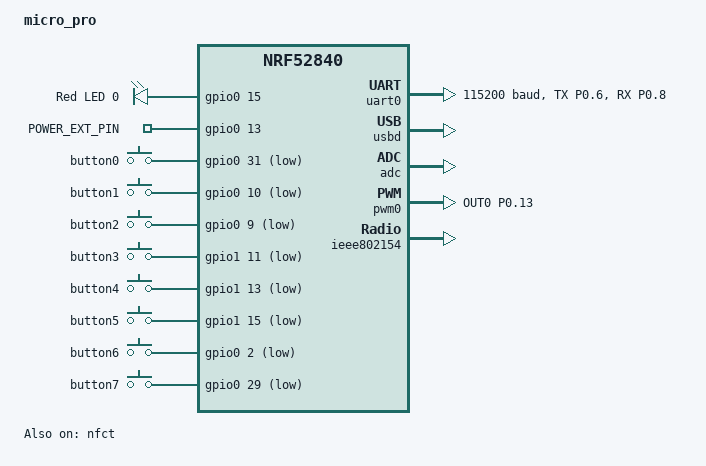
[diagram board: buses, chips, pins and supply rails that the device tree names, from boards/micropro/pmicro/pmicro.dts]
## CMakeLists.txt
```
cmake_minimum_required(VERSION 3.20.0)

set(CMAKE_EXPORT_COMPILE_COMMANDS ON)
cmake_language(DEFER CALL file CREATE_LINK
    ${CMAKE_CURRENT_BINARY_DIR}/compile_commands.json
    ${CMAKE_CURRENT_SOURCE_DIR}/build/compile_commands.json
    SYMBOLIC)

find_package(Zephyr REQUIRED HINTS $ENV{ZEPHYR_BASE})

project(test1)

target_sources(app PRIVATE src/main.c src/bt.c)
```

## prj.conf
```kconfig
CONFIG_NCS_SAMPLES_DEFAULTS=y

CONFIG_BT=y
CONFIG_BT_MAX_CONN=2
CONFIG_BT_MAX_PAIRED=2
CONFIG_BT_SMP=y
CONFIG_BT_ATT_TX_COUNT=5
CONFIG_BT_PERIPHERAL=y
CONFIG_BT_DEVICE_NAME="Nordic_HIDS_keyboard"
CONFIG_BT_DEVICE_APPEARANCE=961

# Disable automatic initiation of PHY updates and the SMP Security Requests.
# Workaround to prevent disconnection with the following disconnect reasons:
# - 0x08 (BT_HCI_ERR_CONN_TIMEOUT)
# - 0x13 (BT_HCI_ERR_REMOTE_USER_TERM_CONN)
# - 0x23 (BT_HCI_ERR_LL_PROC_COLLISION)
# - 0x2A (BT_HCI_ERR_DIFF_TRANS_COLLISION)
# Some laptop Bluetooth controllers may simultaneously trigger two Link Layer
# procedures which results in a procedure collision and disconnection.
CONFIG_BT_GATT_AUTO_SEC_REQ=n
CONFIG_BT_AUTO_PHY_UPDATE=n

CONFIG_BT_BAS=y
CONFIG_BT_HIDS=y
CONFIG_BT_HIDS_INPUT_REP_MAX=1
CONFIG_BT_HIDS_OUTPUT_REP_MAX=1
CONFIG_BT_HIDS_FEATURE_REP_MAX=0
CONFIG_BT_HIDS_ATTR_MAX=21
CONFIG_BT_HIDS_MAX_CLIENT_COUNT=2
CONFIG_BT_HIDS_DEFAULT_PERM_RW_ENCRYPT=y
CONFIG_BT_GATT_UUID16_POOL_SIZE=40
CONFIG_BT_GATT_CHRC_POOL_SIZE=20

CONFIG_BT_CONN_CTX=y

CONFIG_BT_DIS=y
CONFIG_BT_DIS_MANUF_NAME=y
CONFIG_BT_DIS_MANUF_NAME_STR="NordicSemiconductor"
CONFIG_BT_DIS_PNP=y
CONFIG_BT_DIS_PNP_VID_SRC=2
CONFIG_BT_DIS_PNP_VID=0x1915
CONFIG_BT_DIS_PNP_PID=0xEEEF
CONFIG_BT_DIS_PNP_VER=0x0100

CONFIG_MAIN_STACK_SIZE=2048
CONFIG_SYSTEM_WORKQUEUE_STACK_SIZE=2048

CONFIG_BT_SETTINGS=y
CONFIG_FLASH=y
CONFIG_FLASH_PAGE_LAYOUT=y
CONFIG_FLASH_MAP=y
CONFIG_NVS=y

CONFIG_DK_LIBRARY=y

CONFIG_POWEROFF=y
CONFIG_PM_DEVICE=y

# Interrupt is configured manualluy in the project
CONFIG_GPIO_NRFX_INTERRUPT=n
CONFIG_NRFX_GPIOTE=y


CONFIG_SETTINGS=y

#CONFIG_BT_PERIPHERAL_PREF_LATENCY=6
#CONFIG_BT_PERIPHERAL_PREF_TIMEOUT=100

CONFIG_NRFX_POWER=y

# Low power config options

CONFIG_SERIAL=n
CONFIG_UART_CONSOLE=n
CONFIG_CONSOLE=n
CONFIG_LOG=n
CONFIG_STDOUT_CONSOLE=n
CONFIG_PRINTK=n

# Debug config options

#CONFIG_SERIAL=y
#CONFIG_UART_CONSOLE=n
#CONFIG_RTT_CONSOLE=y
#CONFIG_USE_SEGGER_RTT=y
#CONFIG_DEBUG=y
#CONFIG_LOG=y
```

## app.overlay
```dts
// / {
//     chosen {
//         /delete-property/ zephyr,console;
//     };
// };

/* Disable all unneeded peripherals to reduce power consumption */
&uart0 { status = "disabled"; };
// &uart0 { status = "okay"; };
&usbd { status = "disabled"; };
&adc { status = "disabled"; };
&nfct { status = "disabled"; };
&pwm0 { status = "okay"; };
&ieee802154 { status = "disabled"; };

/ {
    pwmleds {
        compatible = "pwm-leds";
        pwm_led0: pwm_led_0 {
            pwms = <&pwm0 0 PWM_MSEC(20) PWM_POLARITY_NORMAL>;
        };
        pwm_led1: pwm_led_1 {
            pwms = <&pwm0 1 PWM_MSEC(20) PWM_POLARITY_NORMAL>;
        };
    };
};

&pwm0 {
    status = "okay";
    pinctrl-0 = <&pwm0_default>;
    pinctrl-1 = <&pwm0_sleep>;
    pinctrl-names = "default", "sleep";
};

&pinctrl {
    pwm0_default: pwm0_default {
        group1 {
            psels = <NRF_PSEL(PWM_OUT0, 0, 6)>,
                    <NRF_PSEL(PWM_OUT1, 0, 8)>;
            nordic,drive-mode = <NRF_DRIVE_S0S1>;
        };
    };
    pwm0_sleep: pwm0_sleep {
        group1 {
            psels = <NRF_PSEL(PWM_OUT0, 0, 6)>,
                    <NRF_PSEL(PWM_OUT1, 0, 8)>;
            nordic,drive-mode = <NRF_DRIVE_S0S1>;
        };
    };
};
```

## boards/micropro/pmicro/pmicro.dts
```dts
/dts-v1/;

#include <nordic/nrf52840_qiaa.dtsi>
#include "pmicro-pinctrl.dtsi"

/ {
	model = "micro_pro";
	compatible = "micropro,pmicro";

	chosen {
		zephyr,sram = &sram0;
		zephyr,flash = &flash0;
		zephyr,code-partition = &slot0_partition;
		zephyr,console = &uart0;
	};
	leds {
		compatible = "gpio-leds";

		led0: led_0 {
			gpios = <&gpio0 15 GPIO_ACTIVE_HIGH>;
			label = "Red LED 0";
		};
		led1: led_1 {
			gpios = <&gpio0 13 GPIO_ACTIVE_HIGH>;
			label = "POWER_EXT_PIN";
		};
	};
	buttons {
		compatible = "gpio-keys";

        button0: button_0 {
            gpios = <&gpio0 31 (GPIO_PULL_UP | GPIO_ACTIVE_LOW)>;
        };
		 button1: button_1 {
		 	gpios = <&gpio0 10 (GPIO_PULL_UP | GPIO_ACTIVE_LOW)>;
		 };
		 button2: button_2 {
		 	gpios = <&gpio0 9 (GPIO_PULL_UP | GPIO_ACTIVE_LOW)>;
		 };
		 button3: button_3 {
		 	gpios = <&gpio1 11 (GPIO_PULL_UP | GPIO_ACTIVE_LOW)>;
		 };
		 button4: button_4 {
		 	gpios = <&gpio1 13 (GPIO_PULL_UP | GPIO_ACTIVE_LOW)>;
		 };
		 button5: button_5 {
		 	gpios = <&gpio1 15 (GPIO_PULL_UP | GPIO_ACTIVE_LOW)>;
		 };
		 button6: button_6 {
		 	gpios = <&gpio0 2 (GPIO_PULL_UP | GPIO_ACTIVE_LOW)>;
		 };
		 button7: button_7 {
		 	gpios = <&gpio0 29 (GPIO_PULL_UP | GPIO_ACTIVE_LOW)>;
		 };
	};
};

&uicr {
    nfct-pins-as-gpios;
};

&flash0 {
	partitions {
		compatible = "fixed-partitions";
		#address-cells = <1>;
		#size-cells = <1>;

		boot_partition: partition@0 {
			label = "mcuboot";
			reg = <0x0 DT_SIZE_K(64)>;
		};

		slot0_partition: partition@10000 {
			label = "image-0";
			reg = <0x10000 DT_SIZE_K(464)>;
		};

		slot1_partition: partition@84000 {
			label = "image-1";
			reg = <0x84000 DT_SIZE_K(464)>;
		};

		storage_partition: partition@f8000 {
			label = "storage";
			reg = <0xf8000 DT_SIZE_K(32)>;
		};
	};
};
&uart0 {
	compatible = "nordic,nrf-uarte";
	status = "okay";
	current-speed = <115200>;
	pinctrl-0 = <&uart0_default>;
	pinctrl-1 = <&uart0_sleep>;
	pinctrl-names = "default", "sleep";
};

&gpio0 {
	status = "okay";
};

&gpio1 {
	status = "okay";
};

&usbd {
	status = "okay";
};

&spi1 {
	status = "disabled";
};

&spi3 {
	status = "disabled";
};

&pinctrl {
	uart0_default: uart0_default {
		group1 {
			psels = <NRF_PSEL(UART_TX, 0, 6)>, <NRF_PSEL(UART_RX, 0, 8)>;
		};
	};

	uart0_sleep: uart0_sleep {
		group1 {
			psels = <NRF_PSEL(UART_TX, 0, 6)>;
		};
	};

	i2c0_default: i2c0_default {
		group1 {
			psels = <NRF_PSEL(TWIM_SCL, 0, 26)>, <NRF_PSEL(TWIM_SDA, 0, 27)>;
		};
	};

	i2c0_sleep: i2c0_sleep {
		group1 {
			psels = <NRF_PSEL(TWIM_SCL, 0, 26)>;
		};
	};

	pwm0_default: pwm0_default {
		group1 {
			psels = <NRF_PSEL(PWM_OUT0, 0, 13)>;
		};
	};

	pwm0_sleep: pwm0_sleep {
		group1 {
			psels = <NRF_PSEL(PWM_OUT0, 0, 13)>;
		};
	};
};

&gpiote {
	status = "okay";
};

&adc {
	status = "okay";
};

&i2c0 {
	status = "disabled";
	pinctrl-0 = <&i2c0_default>;
	pinctrl-1 = <&i2c0_sleep>;
	pinctrl-names = "default", "sleep";
};

&nfct {
	status = "okay";
};

&pwm0 {
	status = "okay";
	pinctrl-0 = <&pwm0_default>;
	pinctrl-1 = <&pwm0_sleep>;
	pinctrl-names = "default", "sleep";
};

&ieee802154 {
	status = "okay";
};
```

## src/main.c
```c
/**
 * @file main.c
 * @author Dmitry Vdovenko
 * @brief BLE hid kbd
 * @date 2026-05-22
 *
 * @copyright Copyright (c) 2026
 *
 */

#include "hal/nrf_gpiote.h"
#include "zephyr/drivers/gpio.h"
#include "zephyr/drivers/timer/system_timer.h"
#include "zephyr/irq.h"

#include <assert.h>
#include <bluetooth/services/hids.h>
#include <dk_buttons_and_leds.h>
#include <hal/nrf_gpio.h>
#include <soc.h>
#include <stddef.h>
#include <string.h>
#include <zephyr/bluetooth/bluetooth.h>
#include <zephyr/bluetooth/conn.h>
#include <zephyr/bluetooth/gatt.h>
#include <zephyr/bluetooth/hci.h>
#include <zephyr/bluetooth/services/bas.h>
#include <zephyr/bluetooth/services/dis.h>
#include <zephyr/bluetooth/uuid.h>
#include <zephyr/drivers/gpio.h>
#include <zephyr/kernel.h>
#include <zephyr/settings/settings.h>
#include <zephyr/spinlock.h>
#include <zephyr/sys/byteorder.h>
#include <zephyr/sys/poweroff.h>
#include <zephyr/sys/printk.h>
#include <zephyr/types.h>
// #include "app_nfc.h"


#include "hal/nrf_gpiote.h"
#include <hal/nrf_gpio.h>
#include <hal/nrf_power.h>
#include <nrfx_power.h>
#include <nrfx.h>


#include "bt.h"

#include <zephyr/drivers/pwm.h>

#define ADV_STATUS_LED DK_LED1
#define CON_STATUS_LED DK_LED2
#define ADV_LED_BLINK_INTERVAL 2000
#define UPTIME_BEFORE_SLEEP_MS 30000

static int configure_leds(void)
{
    int err;

    err = dk_leds_init();
    if (err)
    {
        printk("Cannot init LEDs (err: %d)\n", err);
        return err;
    }
    return 0;
}

static void bas_notify(void)
{
    uint8_t battery_level = bt_bas_get_battery_level();

    battery_level--;

    if (!battery_level)
    {
        battery_level = 100U;
    }
    printk("battery_level %d\n", battery_level);
    bt_bas_set_battery_level(battery_level);
}

static const struct gpio_dt_spec gpio_buttons[] = {
    GPIO_DT_SPEC_GET(DT_NODELABEL(button0), gpios),
    GPIO_DT_SPEC_GET(DT_NODELABEL(button1), gpios),
    GPIO_DT_SPEC_GET(DT_NODELABEL(button2), gpios),
    GPIO_DT_SPEC_GET(DT_NODELABEL(button3), gpios),
    GPIO_DT_SPEC_GET(DT_NODELABEL(button4), gpios),
    GPIO_DT_SPEC_GET(DT_NODELABEL(button5), gpios),
    GPIO_DT_SPEC_GET(DT_NODELABEL(button6), gpios),
    GPIO_DT_SPEC_GET(DT_NODELABEL(button7), gpios),
};
#define GPIO_BUTTONS_NUM (sizeof(gpio_buttons) / sizeof(struct gpio_dt_spec))
BUILD_ASSERT(GPIO_BUTTONS_NUM <= 8, "There are only 8 event lines in GPIOTE on NRF52840");
BUILD_ASSERT(GPIO_BUTTONS_NUM <= KEY_PRESS_MAX, "Function `button_submit_handler` requires that GPIO_BUTTONS_NUM <= KEYS_PRESS_MAX");

static const struct device * gpio0 =  DEVICE_DT_GET(DT_NODELABEL(gpio0));
static const struct device * gpio1 =  DEVICE_DT_GET(DT_NODELABEL(gpio1));

struct  button_submit_work_t {
    struct k_work_delayable work;
    uint32_t codes;
} button_submit_work;

static volatile int64_t last_time_button_pressed = 0;

//  Mask of button states, used to fast check that all are released
static uint8_t btn_states_mask = 0;

/* GPIO buttons handler, invoked by kernel shortly after ISR*/
static void buttons_submit_handler(struct k_work * work)
{
    // mask of pressed codes
    // key with code i is pressed only if bit i is set in mask
    uint32_t codes_mask = button_submit_work.codes;
    uint8_t pressed_codes[KEY_PRESS_MAX];
    uint8_t released_codes[KEY_PRESS_MAX];
    size_t pressed_keys_num = 0;
    size_t released_keys_num = 0;

    printk("mask %d\n", codes_mask);

    for(uint8_t i = 0; i < GPIO_BUTTONS_NUM; ++i){
        if(codes_mask & (1UL << i)){
            if(gpio_pin_get_dt(&gpio_buttons[i]) > 0){
                printk("btn %d pressed\n", i);
                // safe: pressd_keys_num++ < GPIO_BUTTONS_NUM <= KEYS_PRESS_MAX
                pressed_codes[pressed_keys_num++] = i + 0x1E;
                btn_states_mask |= (1U << i);
            } else {
                printk("btn %d released\n", i);
                // safe: released_keys_num++ < GPIO_BUTTONS_NUM <= KEYS_PRESS_MAX
                released_codes[released_keys_num++] = i + 0x1E;
                btn_states_mask &= ~(1U << i);
            }
        }
    }

    hid_buttons_press(pressed_codes, pressed_keys_num);
    hid_buttons_release(released_codes, released_keys_num);

    last_time_button_pressed = k_uptime_get();

    button_submit_work.codes = 0x0;
}



#define GPIOTE DT_NODELABEL(gpiote)

static void gpiote_isr(void * arg){
    ARG_UNUSED(arg);
    uint32_t codes_mask = 0;
    for (int i = 0; i < GPIO_BUTTONS_NUM; ++i)
    {
        if(NRF_GPIOTE0->EVENTS_IN[i]){
            codes_mask |= (1U << i);
            NRF_GPIOTE0->EVENTS_IN[i] = 0x0;
        }
    }
    button_submit_work.codes |= codes_mask;
    // If multiple interrupts occur in short time because of bouncing,
    // `button_submit_work` is invoked only once.
    k_work_reschedule(&button_submit_work.work, K_MSEC(10));
}


static volatile bool low_power_warning_received = false;

static void powwarn_handler(){
    low_power_warning_received = true;
}

static int configure_buttons(void)
{

    // Default IRQ handler from GPIOTE driver seems to always handle PORT event.
    // According to NRF52840 datasheed, PORT event is *ALWAYS* enabled.
    // Even if the cause of interrupt is not port event, but PORT event condition occurs,
    // it is nevertheless handled, so we get 2 interrupts instead of 1.
    // Hence, we set up our custom interrupt handler that does not have this flaw.
    IRQ_CONNECT(DT_IRQN(GPIOTE), DT_IRQ(GPIOTE, priority), gpiote_isr, NULL, 0);

    uint32_t gpio_int_mask = 0;

    // Each button corresponds to a GPIOTE event channel (maximum 8).
    for(int i = 0; i < GPIO_BUTTONS_NUM; ++i){
        int err;

        err = gpio_pin_configure_dt(&gpio_buttons[i], GPIO_INPUT);
        if(err){
            printk("Failed to configure GPIO pin %d, error code : %d", i, err);
            return err;
        }

        // check if pin is on either of 2 ports : gpio 0 or gpio1
        __ASSERT(gpio_buttons[i].port == gpio0 || gpio_buttons[i].port == gpio1, "Button is not on gpio0 or gpio1");

        uint32_t port_number = (gpio_buttons[i].port == gpio0 ? (0U) : (1U));
        uint32_t absolute_pin_number  = NRF_PIN_PORT_TO_PIN_NUMBER(gpio_buttons[i].pin, port_number);

        nrf_gpiote_event_configure(NRF_GPIOTE0, i, absolute_pin_number, NRF_GPIOTE_POLARITY_TOGGLE);
        nrf_gpiote_event_enable(NRF_GPIOTE, i);

        // Generate DETECT signal on low GPIO level (that is, button press)
        // Thus, wake up from System OFF.
        nrf_gpio_cfg_sense_set(absolute_pin_number, NRF_GPIO_PIN_SENSE_LOW);
        gpio_int_mask |= (1U << i);
    }

    nrf_gpiote_int_enable(NRF_GPIOTE0, gpio_int_mask);

    irq_enable(DT_IRQN(GPIOTE));

    return 0;
}


#define POWER DT_NODELABEL(power)
static void configure_pofcon(){

    nrfx_power_config_t power_config  = {
        .dcdcen = 0,
        .dcdcenhv = 0
    };
    int err = nrfx_power_init(&power_config);
    if (err) {
        printk("Power init failed: %d\n", err);
    }

    // 2. Configure Power Failure Warning (POFWARN)
    // Example: Trigger warning if VDD drops below 2.8V
    nrfx_power_pofwarn_config_t pof_config = {
        .handler = powwarn_handler,
        .thrvddh  = NRF_POWER_POFTHRVDDH_V28,
    };

    nrfx_power_pof_init(&pof_config);
    nrfx_power_pof_enable(&pof_config);
    printk("POFWARN Event Handler Enabled\n");

}

static const struct pwm_dt_spec pwm_led0 = PWM_DT_SPEC_GET(DT_NODELABEL(pwm_led0));
static const struct pwm_dt_spec pwm_led1 = PWM_DT_SPEC_GET(DT_NODELABEL(pwm_led1));

static void configure_pwm(){
    if (!device_is_ready(pwm_led0.dev) || !device_is_ready(pwm_led1.dev)){
            printk("Error: One or more PWM devices are not ready.\n");
            return;
    }

    if(pwm_set_dt(&pwm_led0, pwm_led0.period, pwm_led0.period  * 0.5)){
        printk("Error set PWM led 0\n");
    }
    if(pwm_set_dt(&pwm_led1, pwm_led1.period, pwm_led1.period  * 0.5)){
        printk("Error set PWM led 0\n");
    }
}

int main(void)
{
    printk("resetreas : %x\n", NRF_POWER->RESETREAS);
    printk("mainregstatus : %x\n", NRF_POWER->MAINREGSTATUS);
    int err;
    int blink_status = 0;

    configure_pwm();

    // Buttons (i.e wake up sources) must be configured before POFCON
    err = configure_buttons();
    if(err){
        printk("Failed to configure buttons\n");
        return 0;
    }

    configure_pofcon();
    __DSB();
    if(low_power_warning_received){
        printk("Early power warning received, entering System OFF\n");
        sys_clock_disable();
        sys_poweroff();
    }

    err = configure_leds();
    if(err){
        printk("Failed to configure LEDs\n");
        return 0;
    }

    button_submit_work.codes = 0;
    k_work_init_delayable(&button_submit_work.work, buttons_submit_handler);


    err = configure_bt();
    if (err)
    {
        printk("Failed to configure Bluetooth\n");
        return 0;
    }

#if CONFIG_SAMPLE_NFC_OOB_PAIRING
    k_work_init(&adv_work, delayed_advertising_start);
    app_nfc_init();
#else
    advertising_start();
#endif /* CONFIG_SAMPLE_NFC_OOB_PAIRING */

    for (;;)
    {
        if (is_adv)
        {
            dk_set_led(ADV_STATUS_LED, (++blink_status) % 2);
        }
        else
        {
            dk_set_led(ADV_STATUS_LED, 0);
        }
        k_sleep(K_MSEC(ADV_LED_BLINK_INTERVAL));

        /* Battery level simulation */
        bas_notify();

        // Check if no button is held constantly and no action was performed in last UPTIME_BEFORE_SLEEP_MS
        if((k_uptime_get() - last_time_button_pressed >= UPTIME_BEFORE_SLEEP_MS && btn_states_mask == 0x0) || low_power_warning_received){
            if(low_power_warning_received){
                printk("Low power!\n");
            }
            dk_set_led(0, 0);
            NRF_POWER->RESETREAS=0x0;
            sys_clock_disable() ;
            sys_poweroff();
        }

    }
}
```

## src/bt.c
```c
#include <bluetooth/services/hids.h>
#include <dk_buttons_and_leds.h>
#include <hal/nrf_gpio.h>
#include <soc.h>
#include <stddef.h>
#include <string.h>
#include <zephyr/bluetooth/bluetooth.h>
#include <zephyr/bluetooth/conn.h>
#include <zephyr/bluetooth/gatt.h>
#include <zephyr/bluetooth/hci.h>
#include <zephyr/bluetooth/services/bas.h>
#include <zephyr/bluetooth/services/dis.h>
#include <zephyr/bluetooth/uuid.h>
#include <zephyr/drivers/gpio.h>
#include <zephyr/kernel.h>
#include <zephyr/settings/settings.h>
#include <zephyr/spinlock.h>
#include <zephyr/sys/byteorder.h>
#include <zephyr/sys/poweroff.h>
#include <zephyr/sys/printk.h>
#include <zephyr/types.h>
#include "bt.h"

#define DEVICE_NAME     CONFIG_BT_DEVICE_NAME
#define DEVICE_NAME_LEN (sizeof(DEVICE_NAME) - 1)

#define BASE_USB_HID_SPEC_VERSION 0x0101

#define OUTPUT_REPORT_MAX_LEN            1
#define OUTPUT_REPORT_BIT_MASK_CAPS_LOCK 0x02
#define INPUT_REP_KEYS_REF_ID            0
#define OUTPUT_REP_KEYS_REF_ID           0
#define MODIFIER_KEY_POS                 0
#define SHIFT_KEY_CODE                   0x02
#define SCAN_CODE_POS                    2
#define KEYS_MAX_LEN                     (INPUT_REPORT_KEYS_MAX_LEN - SCAN_CODE_POS)


#define LED_CAPS_LOCK  DK_LED3
#define NFC_LED        DK_LED4
#define KEY_TEXT_MASK  DK_BTN1_MSK
#define KEY_SHIFT_MASK DK_BTN2_MSK
#define KEY_ADV_MASK   DK_BTN4_MSK

/* Key used to accept or reject passkey value */
#define KEY_PAIRING_ACCEPT DK_BTN1_MSK
#define KEY_PAIRING_REJECT DK_BTN2_MSK

/* HIDs queue elements. */
#define HIDS_QUEUE_SIZE 10


/* OUT report internal indexes.
 *
 * This is a position in internal report table and is not related to
 * report ID.
 */
enum
{
    OUTPUT_REP_KEYS_IDX = 0
};

/* INPUT report internal indexes.
 *
 * This is a position in internal report table and is not related to
 * report ID.
 */
enum
{
    INPUT_REP_KEYS_IDX = 0
};

/* HIDS instance. */
BT_HIDS_DEF(hids_obj, OUTPUT_REPORT_MAX_LEN, INPUT_REPORT_KEYS_MAX_LEN);


static const struct bt_data ad[] = {
    BT_DATA_BYTES(
        BT_DATA_GAP_APPEARANCE, (CONFIG_BT_DEVICE_APPEARANCE >> 0) & 0xff, (CONFIG_BT_DEVICE_APPEARANCE >> 8) & 0xff),
    BT_DATA_BYTES(BT_DATA_FLAGS, (BT_LE_AD_GENERAL | BT_LE_AD_NO_BREDR)),
    BT_DATA_BYTES(BT_DATA_UUID16_ALL, BT_UUID_16_ENCODE(BT_UUID_HIDS_VAL), BT_UUID_16_ENCODE(BT_UUID_BAS_VAL)),
};

static const struct bt_data sd[] = {
    BT_DATA(BT_DATA_NAME_COMPLETE, DEVICE_NAME, DEVICE_NAME_LEN),
};

static struct conn_mode
{
    struct bt_conn* conn;
    bool in_boot_mode;
} conn_mode[CONFIG_BT_HIDS_MAX_CLIENT_COUNT];

volatile bool is_adv;

/* Current report status
 */
static struct keyboard_state
{
    uint8_t ctrl_keys_state; /* Current keys state */
    uint8_t keys_state[KEY_PRESS_MAX];
} hid_keyboard_state;

#if CONFIG_SAMPLE_NFC_OOB_PAIRING
static struct k_work adv_work;
#endif /* CONFIG_SAMPLE_NFC_OOB_PAIRING */

static struct k_work pairing_work;
struct pairing_data_mitm
{
    struct bt_conn* conn;
    unsigned int passkey;
};

K_MSGQ_DEFINE(mitm_queue, sizeof(struct pairing_data_mitm), CONFIG_BT_HIDS_MAX_CLIENT_COUNT, 4);

void advertising_start(void)
{
    int err;
    const struct bt_le_adv_param* adv_param =
        BT_LE_ADV_PARAM(BT_LE_ADV_OPT_CONN, BT_GAP_ADV_SLOW_INT_MIN, BT_GAP_ADV_SLOW_INT_MAX, NULL);

    err = bt_le_adv_start(adv_param, ad, ARRAY_SIZE(ad), sd, ARRAY_SIZE(sd));
    if (err)
    {
        if (err == -EALREADY)
        {
            printk("Advertising continued\n");
        }
        else
        {
            printk("Advertising failed to start (err %d)\n", err);
        }

        return;
    }

    is_adv = true;
    printk("Advertising successfully started\n");
}


static void pairing_process(struct k_work* work)
{
    int err;
    struct pairing_data_mitm pairing_data;

    char addr[BT_ADDR_LE_STR_LEN];

    err = k_msgq_peek(&mitm_queue, &pairing_data);
    if (err)
    {
        return;
    }

    bt_addr_le_to_str(bt_conn_get_dst(pairing_data.conn), addr, sizeof(addr));

    printk("Passkey for %s: %06u\n", addr, pairing_data.passkey);

    // Temporarily always reply positively on number comparison
    num_comp_reply(true);
}

static void connected(struct bt_conn* conn, uint8_t err)
{
    char addr[BT_ADDR_LE_STR_LEN];

    bt_addr_le_to_str(bt_conn_get_dst(conn), addr, sizeof(addr));

    if (err)
    {
        printk("Failed to connect to %s 0x%02x %s\n", addr, err, bt_hci_err_to_str(err));
        return;
    }

    printk("Connected %s on_CON_STATUS_LED\n", addr);

    err = bt_hids_connected(&hids_obj, conn);

    if (err)
    {
        printk("Failed to notify HID service about connection\n");
        return;
    }

    for (size_t i = 0; i < CONFIG_BT_HIDS_MAX_CLIENT_COUNT; i++)
    {
        if (!conn_mode[i].conn)
        {
            conn_mode[i].conn = conn;
            conn_mode[i].in_boot_mode = false;
            break;
        }
    }

    // #ifndef CONFIG_SAMPLE_NFC_OOB_PAIRING
    //     for (size_t i = 0; i < CONFIG_BT_HIDS_MAX_CLIENT_COUNT; i++)
    //     {
    //         if (!conn_mode[i].conn)
    //         {
    //             advertising_start();
    //             return;
    //         }
    //     }
    // #endif /* !CONFIG_SAMPLE_NFC_OOB_PAIRING */
    is_adv = false;
}

static void disconnected(struct bt_conn* conn, uint8_t reason)
{
    int err;
    bool is_any_dev_connected = false;
    char addr[BT_ADDR_LE_STR_LEN];

    bt_addr_le_to_str(bt_conn_get_dst(conn), addr, sizeof(addr));

    printk("Disconnected from %s, reason 0x%02x %s\n", addr, reason, bt_hci_err_to_str(reason));

    err = bt_hids_disconnected(&hids_obj, conn);

    if (err)
    {
        printk("Failed to notify HID service about disconnection\n");
    }

    for (size_t i = 0; i < CONFIG_BT_HIDS_MAX_CLIENT_COUNT; i++)
    {
        if (conn_mode[i].conn == conn)
        {
            conn_mode[i].conn = NULL;
        }
        else
        {
            if (conn_mode[i].conn)
            {
                is_any_dev_connected = true;
            }
        }
    }

    if (!is_any_dev_connected)
    {
        // dk_set_led_off(CON_STATUS_LED);
        printk("off_CON_STATUS_LE\n");
    }

#if CONFIG_SAMPLE_NFC_OOB_PAIRING
    if (is_adv)
    {
        printk("Advertising stopped after disconnect\n");
        bt_le_adv_stop();
        is_adv = false;
    }
#else
    advertising_start();
#endif /* CONFIG_SAMPLE_NFC_OOB_PAIRING */
}

static void security_changed(struct bt_conn* conn, bt_security_t level, enum bt_security_err err)
{
    char addr[BT_ADDR_LE_STR_LEN];

    bt_addr_le_to_str(bt_conn_get_dst(conn), addr, sizeof(addr));

    if (!err)
    {
        printk("Security changed: %s level %u\n", addr, level);
    }
    else
    {
        printk("Security failed: %s level %u err %d %s\n", addr, level, err, bt_security_err_to_str(err));
    }
}

BT_CONN_CB_DEFINE(conn_callbacks) = {
    .connected = connected,
    .disconnected = disconnected,
    .security_changed = security_changed,
};

static void caps_lock_handler(const struct bt_hids_rep* rep)
{
    uint8_t report_val = ((*rep->data) & OUTPUT_REPORT_BIT_MASK_CAPS_LOCK) ? 1 : 0;
    // dk_set_led(LED_CAPS_LOCK, report_val);
    printk("LED_CAPS_LOCK%d\n", report_val);
}

static void hids_outp_rep_handler(struct bt_hids_rep* rep, struct bt_conn* conn, bool write)
{
    char addr[BT_ADDR_LE_STR_LEN];

    if (!write)
    {
        printk("Output report read\n");
        return;
    };

    bt_addr_le_to_str(bt_conn_get_dst(conn), addr, sizeof(addr));
    printk("Output report has been received %s\n", addr);
    caps_lock_handler(rep);
}

static void hids_boot_kb_outp_rep_handler(struct bt_hids_rep* rep, struct bt_conn* conn, bool write)
{
    char addr[BT_ADDR_LE_STR_LEN];

    if (!write)
    {
        printk("Output report read\n");
        return;
    };

    bt_addr_le_to_str(bt_conn_get_dst(conn), addr, sizeof(addr));
    printk("Boot Keyboard Output report has been received %s\n", addr);
    caps_lock_handler(rep);
}

static void hids_pm_evt_handler(enum bt_hids_pm_evt evt, struct bt_conn* conn)
{
    char addr[BT_ADDR_LE_STR_LEN];
    size_t i;

    for (i = 0; i < CONFIG_BT_HIDS_MAX_CLIENT_COUNT; i++)
    {
        if (conn_mode[i].conn == conn)
        {
            break;
        }
    }

    if (i >= CONFIG_BT_HIDS_MAX_CLIENT_COUNT)
    {
        printk("Cannot find connection handle when processing PM");
        return;
    }

    bt_addr_le_to_str(bt_conn_get_dst(conn), addr, sizeof(addr));

    switch (evt)
    {
        case BT_HIDS_PM_EVT_BOOT_MODE_ENTERED:
            printk("Boot mode entered %s\n", addr);
            conn_mode[i].in_boot_mode = true;
            break;

        case BT_HIDS_PM_EVT_REPORT_MODE_ENTERED:
            printk("Report mode entered %s\n", addr);
            conn_mode[i].in_boot_mode = false;
            break;

        default:
            break;
    }
}

static void hid_init(void)
{
    int err;
    struct bt_hids_init_param hids_init_obj = {0};
    struct bt_hids_inp_rep* hids_inp_rep;
    struct bt_hids_outp_feat_rep* hids_outp_rep;

    static const uint8_t report_map[] = {
        0x05, 0x01, /* Usage Page (Generic Desktop) */
        0x09, 0x06, /* Usage (Keyboard) */
        0xA1, 0x01, /* Collection (Application) */

    /* Keys */
#if INPUT_REP_KEYS_REF_ID
        0x85, INPUT_REP_KEYS_REF_ID,
#endif
        0x05, 0x07, /* Usage Page (Key Codes) */
        0x19, 0xe0, /* Usage Minimum (224) */
        0x29, 0xe7, /* Usage Maximum (231) */
        0x15, 0x00, /* Logical Minimum (0) */
        0x25, 0x01, /* Logical Maximum (1) */
        0x75, 0x01, /* Report Size (1) */
        0x95, 0x08, /* Report Count (8) */
        0x81, 0x02, /* Input (Data, Variable, Absolute) */

        0x95, 0x01, /* Report Count (1) */
        0x75, 0x08, /* Report Size (8) */
        0x81, 0x01, /* Input (Constant) reserved byte(1) */

        0x95, 0x06, /* Report Count (6) */
        0x75, 0x08, /* Report Size (8) */
        0x15, 0x00, /* Logical Minimum (0) */
        0x25, 0x65, /* Logical Maximum (101) */
        0x05, 0x07, /* Usage Page (Key codes) */
        0x19, 0x00, /* Usage Minimum (0) */
        0x29, 0x65, /* Usage Maximum (101) */
        0x81, 0x00, /* Input (Data, Array) Key array(6 bytes) */

    /* LED */
#if OUTPUT_REP_KEYS_REF_ID
        0x85, OUTPUT_REP_KEYS_REF_ID,
#endif
        0x95, 0x05, /* Report Count (5) */
        0x75, 0x01, /* Report Size (1) */
        0x05, 0x08, /* Usage Page (Page# for LEDs) */
        0x19, 0x01, /* Usage Minimum (1) */
        0x29, 0x05, /* Usage Maximum (5) */
        0x91, 0x02, /* Output (Data, Variable, Absolute), */
        /* Led report */
        0x95, 0x01, /* Report Count (1) */
        0x75, 0x03, /* Report Size (3) */
        0x91, 0x01, /* Output (Data, Variable, Absolute), */
        /* Led report padding */

        0xC0 /* End Collection (Application) */
    };

    hids_init_obj.rep_map.data = report_map;
    hids_init_obj.rep_map.size = sizeof(report_map);

    hids_init_obj.info.bcd_hid = BASE_USB_HID_SPEC_VERSION;
    hids_init_obj.info.b_country_code = 0x00;
    hids_init_obj.info.flags = (BT_HIDS_REMOTE_WAKE | BT_HIDS_NORMALLY_CONNECTABLE);

    hids_inp_rep = &hids_init_obj.inp_rep_group_init.reports[INPUT_REP_KEYS_IDX];
    hids_inp_rep->size = INPUT_REPORT_KEYS_MAX_LEN;
    hids_inp_rep->id = INPUT_REP_KEYS_REF_ID;
    hids_init_obj.inp_rep_group_init.cnt++;

    hids_outp_rep = &hids_init_obj.outp_rep_group_init.reports[OUTPUT_REP_KEYS_IDX];
    hids_outp_rep->size = OUTPUT_REPORT_MAX_LEN;
    hids_outp_rep->id = OUTPUT_REP_KEYS_REF_ID;
    hids_outp_rep->handler = hids_outp_rep_handler;
    hids_init_obj.outp_rep_group_init.cnt++;

    hids_init_obj.is_kb = true;
    hids_init_obj.boot_kb_outp_rep_handler = hids_boot_kb_outp_rep_handler;
    hids_init_obj.pm_evt_handler = hids_pm_evt_handler;

    err = bt_hids_init(&hids_obj, &hids_init_obj);
    __ASSERT(err == 0, "HIDS initialization failed\n");
}

static void auth_passkey_display(struct bt_conn* conn, unsigned int passkey)
{
    char addr[BT_ADDR_LE_STR_LEN];

    bt_addr_le_to_str(bt_conn_get_dst(conn), addr, sizeof(addr));

    printk("Passkey for %s: %06u\n", addr, passkey);
}

static void auth_passkey_confirm(struct bt_conn* conn, unsigned int passkey)
{
    int err;

    struct pairing_data_mitm pairing_data;

    pairing_data.conn = bt_conn_ref(conn);
    pairing_data.passkey = passkey;

    err = k_msgq_put(&mitm_queue, &pairing_data, K_NO_WAIT);
    if (err)
    {
        printk("Pairing queue is full. Purge previous data.\n");
    }

    /* In the case of multiple pairing requests, trigger
     * pairing confirmation which needed user interaction only
     * once to avoid display information about all devices at
     * the same time. Passkey confirmation for next devices will
     * be proccess from queue after handling the earlier ones.
     */
    if (k_msgq_num_used_get(&mitm_queue) == 1)
    {
        k_work_submit(&pairing_work);
    }
}

static void auth_cancel(struct bt_conn* conn)
{
    char addr[BT_ADDR_LE_STR_LEN];

    bt_addr_le_to_str(bt_conn_get_dst(conn), addr, sizeof(addr));

    printk("Pairing cancelled: %s\n", addr);
}

#if CONFIG_SAMPLE_NFC_OOB_PAIRING
static void auth_oob_data_request(struct bt_conn* conn, struct bt_conn_oob_info* info)
{
    int err;
    struct bt_le_oob* oob_local = app_nfc_oob_data_get();

    printk("LESC OOB data requested\n");

    if (info->type != BT_CONN_OOB_LE_SC)
    {
        printk("Only LESC pairing supported\n");
        return;
    }

    if (info->lesc.oob_config != BT_CONN_OOB_LOCAL_ONLY)
    {
        printk("LESC OOB config not supported\n");
        return;
    }

    /* Pass only local OOB data. */
    err = bt_le_oob_set_sc_data(conn, &oob_local->le_sc_data, NULL);
    if (err)
    {
        printk("Error while setting OOB data: %d\n", err);
    }
    else
    {
        printk("Successfully provided LESC OOB data\n");
    }
}
#endif /* CONFIG_SAMPLE_NFC_OOB_PAIRING */

static void pairing_complete(struct bt_conn* conn, bool bonded)
{
    char addr[BT_ADDR_LE_STR_LEN];

    bt_addr_le_to_str(bt_conn_get_dst(conn), addr, sizeof(addr));

    printk("Pairing completed: %s, bonded: %d\n", addr, bonded);
}

static void pairing_failed(struct bt_conn* conn, enum bt_security_err reason)
{
    char addr[BT_ADDR_LE_STR_LEN];
    struct pairing_data_mitm pairing_data;

    if (k_msgq_peek(&mitm_queue, &pairing_data) != 0)
    {
        return;
    }

    if (pairing_data.conn == conn)
    {
        bt_conn_unref(pairing_data.conn);
        k_msgq_get(&mitm_queue, &pairing_data, K_NO_WAIT);
    }

    bt_addr_le_to_str(bt_conn_get_dst(conn), addr, sizeof(addr));

    printk("Pairing failed conn: %s, reason %d %s\n", addr, reason, bt_security_err_to_str(reason));
}

static struct bt_conn_auth_cb conn_auth_callbacks = {
    .passkey_display = auth_passkey_display,
    .passkey_confirm = auth_passkey_confirm,
    .cancel = auth_cancel,
#if CONFIG_SAMPLE_NFC_OOB_PAIRING
    .oob_data_request = auth_oob_data_request,
#endif /* CONFIG_SAMPLE_NFC_OOB_PAIRING */
};

static struct bt_conn_auth_info_cb conn_auth_info_callbacks = {
    .pairing_complete = pairing_complete, .pairing_failed = pairing_failed};

/** @brief Function process keyboard state and sends it
 *
 *  @param pstate     The state to be sent
 *  @param boot_mode  Information if boot mode protocol is selected.
 *  @param conn       Connection handler
 *
 *  @return 0 on success or negative error code.
 */
static int key_report_con_send(const struct keyboard_state* state, bool boot_mode, struct bt_conn* conn)
{
    int err = 0;
    uint8_t data[INPUT_REPORT_KEYS_MAX_LEN];
    uint8_t* key_data;
    const uint8_t* key_state;
    size_t n;

    data[0] = state->ctrl_keys_state;
    data[1] = 0;
    key_data = &data[2];
    key_state = state->keys_state;

    for (n = 0; n < KEY_PRESS_MAX; ++n)
    {
        *key_data++ = *key_state++;
    }
    if (boot_mode)
    {
        err = bt_hids_boot_kb_inp_rep_send(&hids_obj, conn, data, sizeof(data), NULL);
    }
    else
    {
        err = bt_hids_inp_rep_send(&hids_obj, conn, INPUT_REP_KEYS_IDX, data, sizeof(data), NULL);
    }
    return err;
}

/** @brief Function process and send keyboard state to all active connections
 *
 * Function process global keyboard state and send it to all connected
 * clients.
 *
 * @return 0 on success or negative error code.
 */
static int key_report_send(void)
{
    for (size_t i = 0; i < CONFIG_BT_HIDS_MAX_CLIENT_COUNT; i++)
    {
        if (conn_mode[i].conn)
        {
            int err;

            err = key_report_con_send(&hid_keyboard_state, conn_mode[i].in_boot_mode, conn_mode[i].conn);
            if (err)
            {
                printk("Key report send error: %d\n", err);
                return err;
            }
        }
    }
    return 0;
}

/** @brief Change key code to ctrl code mask
 *
 *  Function changes the key code to the mask in the control code
 *  field inside the raport.
 *  Returns 0 if key code is not a control key.
 *
 *  @param key Key code
 *
 *  @return Mask of the control key or 0.
 */
static uint8_t button_ctrl_code(uint8_t key)
{
    if (KEY_CTRL_CODE_MIN <= key && key <= KEY_CTRL_CODE_MAX)
    {
        return (uint8_t)(1U << (key - KEY_CTRL_CODE_MIN));
    }
    return 0;
}

static int hid_kbd_state_key_set(uint8_t key)
{
    uint8_t ctrl_mask = button_ctrl_code(key);

    if (ctrl_mask)
    {
        hid_keyboard_state.ctrl_keys_state |= ctrl_mask;
        return 0;
    }
    for (size_t i = 0; i < KEY_PRESS_MAX; ++i)
    {
        if (hid_keyboard_state.keys_state[i] == 0)
        {
            hid_keyboard_state.keys_state[i] = key;
            return 0;
        }
    }
    /* All slots busy */
    return -EBUSY;
}

static int hid_kbd_state_key_clear(uint8_t key)
{
    uint8_t ctrl_mask = button_ctrl_code(key);

    if (ctrl_mask)
    {
        hid_keyboard_state.ctrl_keys_state &= ~ctrl_mask;
        return 0;
    }
    for (size_t i = 0; i < KEY_PRESS_MAX; ++i)
    {
        if (hid_keyboard_state.keys_state[i] == key)
        {
            hid_keyboard_state.keys_state[i] = 0;
            return 0;
        }
    }
    /* Key not found */
    return -EINVAL;
}

/** @brief Press a button and send report
 *
 *  @note Functions to manipulate hid state are not reentrant
 *  @param keys
 *  @param cnt
 *
 *  @return 0 on success or negative error code.
 */
int hid_buttons_press(const uint8_t* keys, size_t cnt)
{
    while (cnt--)
    {
        int err;

        err = hid_kbd_state_key_set(*keys++);
        if (err)
        {
            printk("Cannot set selected key.\n");
            return err;
        }
    }

    return key_report_send();
}

/** @brief Release the button and send report
 *
 *  @note Functions to manipulate hid state are not reentrant
 *  @param keys
 *  @param cnt
 *
 *  @return 0 on success or negative error code.
 */
int hid_buttons_release(const uint8_t* keys, size_t cnt)
{
    while (cnt--)
    {
        int err;

        err = hid_kbd_state_key_clear(*keys++);
        if (err)
        {
            printk("Cannot clear selected key.\n");
            return err;
        }
    }

    return key_report_send();
}

void num_comp_reply(bool accept)
{
    struct pairing_data_mitm pairing_data;
    struct bt_conn* conn;

    if (k_msgq_get(&mitm_queue, &pairing_data, K_NO_WAIT) != 0)
    {
        return;
    }

    conn = pairing_data.conn;

    if (accept)
    {
        bt_conn_auth_passkey_confirm(conn);
        printk("Numeric Match, conn %p\n", conn);
    }
    else
    {
        bt_conn_auth_cancel(conn);
        printk("Numeric Reject, conn %p\n", conn);
    }

    bt_conn_unref(pairing_data.conn);

    if (k_msgq_num_used_get(&mitm_queue))
    {
        k_work_submit(&pairing_work);
    }
}

int configure_bt(void)
{
    int err;

    printk("Starting Bluetooth Peripheral HIDS keyboard sample\n");
    err = bt_conn_auth_cb_register(&conn_auth_callbacks);
    if (err)
    {
        printk("Failed to register authorization callbacks.\n");
        return err;
    }

    err = bt_conn_auth_info_cb_register(&conn_auth_info_callbacks);
    if (err)
    {
        printk("Failed to register authorization info callbacks.\n");
        return err;
    }

    hid_init();

    err = bt_enable(NULL);
    if (err)
    {
        printk("Bluetooth init failed (err %d)\n", err);
        return err;
    }

   	if (IS_ENABLED(CONFIG_SETTINGS)) {
		settings_load();
	}

    k_work_init(&pairing_work, pairing_process);

    printk("Bluetooth initialized\n");
    return 0;
}
```

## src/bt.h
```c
#include <stdint.h>
#include <stdbool.h>
#include <stdlib.h>


/* ********************* */
/* Buttons configuration */

/* Note: The configuration below is the same as BOOT mode configuration
 * This simplifies the code as the BOOT mode is the same as REPORT mode.
 * Changing this configuration would require separate implementation of
 * BOOT mode report generation.
 */
#define KEY_CTRL_CODE_MIN 224 /* Control key codes - required 8 of them */
#define KEY_CTRL_CODE_MAX 231 /* Control key codes - required 8 of them */
#define KEY_CODE_MIN      0   /* Normal key codes */
#define KEY_CODE_MAX      101 /* Normal key codes */
#define KEY_PRESS_MAX \
    8 /* Maximum number of non-control keys \
       * pressed simultaneously \
       */

/* Number of bytes in key report
 *
 * 1B - control keys
 * 1B - reserved
 * rest - non-control keys
 */
#define INPUT_REPORT_KEYS_MAX_LEN (1 + 1 + KEY_PRESS_MAX)

/* Current report map construction requires exactly 8 buttons */
BUILD_ASSERT((KEY_CTRL_CODE_MAX - KEY_CTRL_CODE_MIN) + 1 == 8);

/** @brief Release the button and send report
 *
 *  @note Functions to manipulate hid state are not reentrant
 *  @param keys
 *  @param cnt
 *
 *  @return 0 on success or negative error code.
 */
int hid_buttons_release(const uint8_t* keys, size_t cnt);

/** @brief Press a button and send report
 *
 *  @note Functions to manipulate hid state are not reentrant
 *  @param keys
 *  @param cnt
 *
 *  @return 0 on success or negative error code.
 */
int hid_buttons_press(const uint8_t* keys, size_t cnt);

/*
 * Reply on Pin comparison request
 */
void num_comp_reply(bool accept);

/*
 * Configure bluetooth
 */
int configure_bt(void);

/*
 * Start advertising
 */
void advertising_start(void);


/*
 * Is currently advertising
 */
extern volatile bool is_adv;
```
